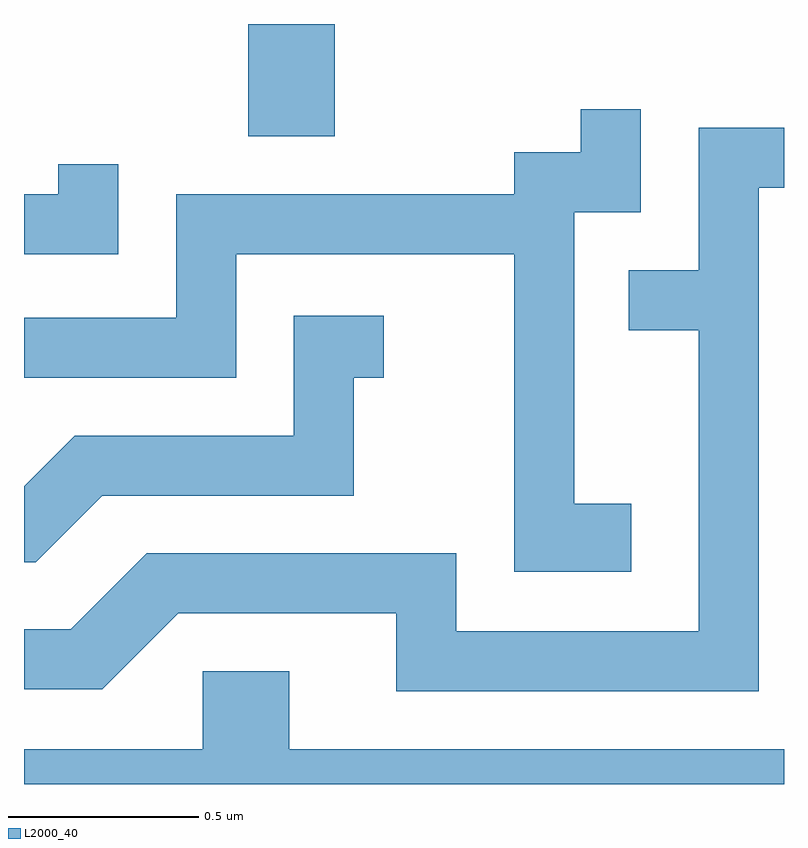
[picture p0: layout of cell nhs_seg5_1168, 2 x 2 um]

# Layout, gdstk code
import gdstk
lib = gdstk.Library(unit=1e-6, precision=1e-09)
def R(c, l, rs):  # rectangles x0, y0, x1, y1
    for r in rs: c.add(gdstk.rectangle(r[:2], r[2:], *l))
def P(c, l, *ps):  # polygons
    for p in ps: c.add(gdstk.Polygon(p, *l))
L2000_40 = (2000, 40)

nhs_seg5_1168 = lib.new_cell('nhs_seg5_1168')
R(nhs_seg5_1168, L2000_40, [(194.201,1469.776,194.429,1470.072)])
P(nhs_seg5_1168, L2000_40, [(195.209,1468.809),(195.059,1468.809),(195.059,1469.576),(195.234,1469.576),(195.234,1469.848),(195.076,1469.848),(195.076,1469.734),(194.901,1469.734),(194.901,1469.624),(194.011,1469.624),(194.011,1469.299),(193.611,1469.299),(193.611,1469.141),(194.169,1469.141),(194.169,1469.466),(194.901,1469.466),(194.901,1468.631),(195.209,1468.631)],
  [(195.544,1469.641),(195.611,1469.641),(195.611,1469.799),(195.386,1469.799),(195.386,1469.424),(195.203,1469.424),(195.203,1469.266),(195.386,1469.266),(195.386,1468.474),(194.749,1468.474),(194.749,1468.679),(193.934,1468.679),(193.734,1468.479),(193.611,1468.479),(193.611,1468.321),(193.817,1468.321),(194.017,1468.521),(194.591,1468.521),(194.591,1468.316),(195.544,1468.316)],
  [(193.859,1469.703),(193.701,1469.703),(193.701,1469.624),(193.611,1469.624),(193.611,1469.466),(193.859,1469.466)],
  [(193.817,1468.831),(194.479,1468.831),(194.479,1469.141),(194.558,1469.141),(194.558,1469.304),(194.321,1469.304),(194.321,1468.989),(193.744,1468.989),(193.611,1468.856),(193.611,1468.656),(193.642,1468.656)],
  [(195.611,1468.164),(194.309,1468.164),(194.309,1468.369),(194.081,1468.369),(194.081,1468.164),(193.611,1468.164),(193.611,1468.072),(195.611,1468.072)])

lib.write_gds('nhs_seg5_1168.gds')
